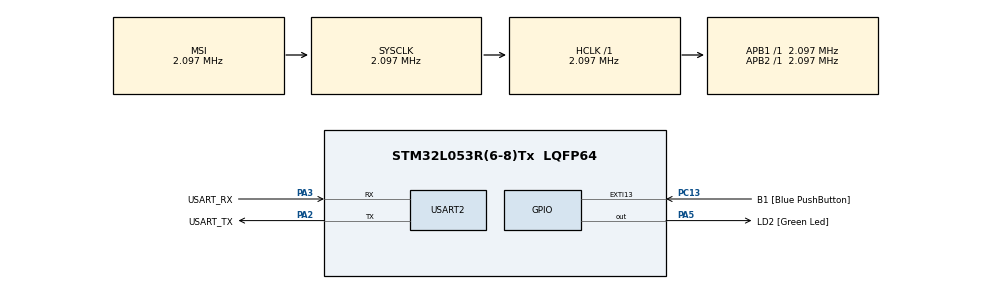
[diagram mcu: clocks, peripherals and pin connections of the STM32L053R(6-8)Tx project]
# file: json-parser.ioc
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Mcu.Family=STM32L0
Mcu.Name=STM32L053R(6-8)Tx
Mcu.Package=LQFP64
PA13.GPIO_Label=TMS
PA13.Mode=Serial_Wire
PA13.Signal=SYS_SWDIO
PA14.GPIO_Label=TCK
PA14.Mode=Serial_Wire
PA14.Signal=SYS_SWCLK
PA2.GPIO_Label=USART_TX
PA2.Mode=Asynchronous
PA2.Signal=USART2_TX
PA3.GPIO_Label=USART_RX
PA3.Mode=Asynchronous
PA3.Signal=USART2_RX
PA5.GPIO_Label=LD2 [Green Led]
PA5.Signal=GPIO_Output
PC13.GPIO_Label=B1 [Blue PushButton]
PC13.GPIO_ModeDefaultEXTI=GPIO_MODE_IT_FALLING
PC13.Signal=GPXTI13
PC14-OSC32_IN.Mode=LSE-External-Oscillator
PC14-OSC32_IN.Signal=RCC_OSC32_IN
PC15-OSC32_OUT.Mode=LSE-External-Oscillator
PC15-OSC32_OUT.Signal=RCC_OSC32_OUT
PH0-OSC_IN.Mode=HSE-External-Clock-Source
PH0-OSC_IN.Signal=RCC_OSC_IN
PH1-OSC_OUT.Signal=RCC_OSC_OUT
ProjectManager.HeapSize=0x200
ProjectManager.StackSize=0x400
ProjectManager.TargetToolchain=STM32CubeIDE
RCC.AHBFreq_Value=2097000
RCC.APB1Freq_Value=2097000
RCC.APB1TimFreq_Value=2097000
RCC.APB2Freq_Value=2097000
RCC.APB2TimFreq_Value=2097000
RCC.HSE_VALUE=8000000
RCC.HSI16_VALUE=16000000
RCC.HSI48_VALUE=48000000
RCC.HSI_VALUE=16000000
RCC.MSI_VALUE=2097000
RCC.SYSCLKFreq_VALUE=2097000
RCC.VCOOutputFreq_Value=48000000
USART2.VirtualMode-Asynchronous=VM_ASYNC
board=NUCLEO-L053R8

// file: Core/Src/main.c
/* USER CODE BEGIN Header */
/**
  ******************************************************************************
  * @file           : main.c
  * @brief          : Main program body
  ******************************************************************************
  * @attention
  *
  * <h2><center>&copy; Copyright (c) 2021 STMicroelectronics.
  * All rights reserved.</center></h2>
  *
  * This software component is licensed by ST under BSD 3-Clause license,
  * the "License"; You may not use this file except in compliance with the
  * License. You may obtain a copy of the License at:
  *                        opensource.org/licenses/BSD-3-Clause
  *
  ******************************************************************************
  */
/* USER CODE END Header */
#include "main.h"

/* USER CODE BEGIN Includes */
#include "json.h"
/* USER CODE END Includes */

UART_HandleTypeDef huart2;

/* USER CODE BEGIN PV */
int __io_putchar(int ch);
int _write(int file,char *ptr, int len);
static void print_depth_shift(int depth)
{
        int j;
        for (j=0; j < depth; j++) {
                printf(" ");
        }
}

static void process_value(json_value* value, int depth);

static void process_object(json_value* value, int depth)
{
        int length, x;
        if (value == NULL) {
                return;
        }
        length = value->u.object.length;
        for (x = 0; x < length; x++) {
                print_depth_shift(depth);
                printf("object[%d].name = %s\n\r", x, value->u.object.values[x].name);
                process_value(value->u.object.values[x].value, depth+1);
        }
}

static void process_array(json_value* value, int depth)
{
        int length, x;
        if (value == NULL) {
                return;
        }
        length = value->u.array.length;
        printf("array\n\r");
        for (x = 0; x < length; x++) {
                process_value(value->u.array.values[x], depth);
        }
}

static void process_value(json_value* value, int depth)
{
        int j;
        if (value == NULL) {
                return;
        }
        if (value->type != json_object) {
                print_depth_shift(depth);
        }
        switch (value->type) {
                case json_none:
                        printf("none\n");
                        break;
                case json_object:
                        process_object(value, depth+1);
                        break;
                case json_array:
                        process_array(value, depth+1);
                        break;
                case json_integer:
                        printf("int: %10" PRId64 "\n", value->u.integer);
                        break;
                case json_double:
                        printf("double: %f\n", value->u.dbl);
                        break;
                case json_string:
                        printf("string: %s\n", value->u.string.ptr);
                        break;
                case json_boolean:
                        printf("bool: %d\n", value->u.boolean);
                        break;
        }
}
/* USER CODE END PV */

void SystemClock_Config(void);
static void MX_GPIO_Init(void);
static void MX_USART2_UART_Init(void);

int main(void)
{

  /* MCU Configuration--------------------------------------------------------*/

  /* Reset of all peripherals, Initializes the Flash interface and the Systick. */
  HAL_Init();

  /* Configure the system clock */
  SystemClock_Config();

  /* Initialize all configured peripherals */
  MX_GPIO_Init();
  MX_USART2_UART_Init();
  /* USER CODE BEGIN 2 */
  char* file_contents = "[ true, false, \"\u20AC\u20AD\" ]";
  int file_size = strlen(file_contents);
  json_char* json;
  json_value* value;
  printf("%s\n", file_contents);

  printf("--------------------------------\n\n");

  json = (json_char*)file_contents;

  value = json_parse(json,file_size);

  process_value(value, 0);

  json_value_free(value);
  free(file_contents);
  /* USER CODE END 2 */

  /* Infinite loop */
  while (1)
  {
	  HAL_Delay(1000);
  }
}

void SystemClock_Config(void)
{
  RCC_OscInitTypeDef RCC_OscInitStruct = {0};
  RCC_ClkInitTypeDef RCC_ClkInitStruct = {0};
  RCC_PeriphCLKInitTypeDef PeriphClkInit = {0};

  /** Configure the main internal regulator output voltage
  */
  __HAL_PWR_VOLTAGESCALING_CONFIG(PWR_REGULATOR_VOLTAGE_SCALE1);
  /** Initializes the RCC Oscillators according to the specified parameters
  * in the RCC_OscInitTypeDef structure.
  */
  RCC_OscInitStruct.OscillatorType = RCC_OSCILLATORTYPE_MSI;
  RCC_OscInitStruct.MSIState = RCC_MSI_ON;
  RCC_OscInitStruct.MSICalibrationValue = 0;
  RCC_OscInitStruct.MSIClockRange = RCC_MSIRANGE_5;
  RCC_OscInitStruct.PLL.PLLState = RCC_PLL_NONE;
  if (HAL_RCC_OscConfig(&RCC_OscInitStruct) != HAL_OK)
  {
    Error_Handler();
  }
  /** Initializes the CPU, AHB and APB buses clocks
  */
  RCC_ClkInitStruct.ClockType = RCC_CLOCKTYPE_HCLK|RCC_CLOCKTYPE_SYSCLK
                              |RCC_CLOCKTYPE_PCLK1|RCC_CLOCKTYPE_PCLK2;
  RCC_ClkInitStruct.SYSCLKSource = RCC_SYSCLKSOURCE_MSI;
  RCC_ClkInitStruct.AHBCLKDivider = RCC_SYSCLK_DIV1;
  RCC_ClkInitStruct.APB1CLKDivider = RCC_HCLK_DIV1;
  RCC_ClkInitStruct.APB2CLKDivider = RCC_HCLK_DIV1;

  if (HAL_RCC_ClockConfig(&RCC_ClkInitStruct, FLASH_LATENCY_0) != HAL_OK)
  {
    Error_Handler();
  }
  PeriphClkInit.PeriphClockSelection = RCC_PERIPHCLK_USART2;
  PeriphClkInit.Usart2ClockSelection = RCC_USART2CLKSOURCE_PCLK1;
  if (HAL_RCCEx_PeriphCLKConfig(&PeriphClkInit) != HAL_OK)
  {
    Error_Handler();
  }
}

static void MX_USART2_UART_Init(void)
{

  huart2.Instance = USART2;
  huart2.Init.BaudRate = 115200;
  huart2.Init.WordLength = UART_WORDLENGTH_8B;
  huart2.Init.StopBits = UART_STOPBITS_1;
  huart2.Init.Parity = UART_PARITY_NONE;
  huart2.Init.Mode = UART_MODE_TX_RX;
  huart2.Init.HwFlowCtl = UART_HWCONTROL_NONE;
  huart2.Init.OverSampling = UART_OVERSAMPLING_16;
  huart2.Init.OneBitSampling = UART_ONE_BIT_SAMPLE_DISABLE;
  huart2.AdvancedInit.AdvFeatureInit = UART_ADVFEATURE_NO_INIT;
  if (HAL_UART_Init(&huart2) != HAL_OK)
  {
    Error_Handler();
  }

}

static void MX_GPIO_Init(void)
{
  GPIO_InitTypeDef GPIO_InitStruct = {0};

  /* GPIO Ports Clock Enable */
  __HAL_RCC_GPIOC_CLK_ENABLE();
  __HAL_RCC_GPIOH_CLK_ENABLE();
  __HAL_RCC_GPIOA_CLK_ENABLE();

  /*Configure GPIO pin Output Level */
  HAL_GPIO_WritePin(LD2_GPIO_Port, LD2_Pin, GPIO_PIN_RESET);

  /*Configure GPIO pin : B1_Pin */
  GPIO_InitStruct.Pin = B1_Pin;
  GPIO_InitStruct.Mode = GPIO_MODE_IT_FALLING;
  GPIO_InitStruct.Pull = GPIO_NOPULL;
  HAL_GPIO_Init(B1_GPIO_Port, &GPIO_InitStruct);

  /*Configure GPIO pin : LD2_Pin */
  GPIO_InitStruct.Pin = LD2_Pin;
  GPIO_InitStruct.Mode = GPIO_MODE_OUTPUT_PP;
  GPIO_InitStruct.Pull = GPIO_NOPULL;
  GPIO_InitStruct.Speed = GPIO_SPEED_FREQ_LOW;
  HAL_GPIO_Init(LD2_GPIO_Port, &GPIO_InitStruct);

}

/* USER CODE BEGIN 4 */
int __io_putchar(int ch)
{
	uint8_t c[1];
	c[0] = ch & 0x00FF;
	HAL_UART_Transmit(&huart2, c, 1, 10);
	return ch;
}

int _write(int file,char *ptr, int len)
{
	int DataIdx;
	for(DataIdx= 0; DataIdx< len; DataIdx++)
	{
		__io_putchar(*ptr++);
	}
}
/* USER CODE END 4 */

void Error_Handler(void)
{
}

/************************ (C) COPYRIGHT STMicroelectronics *****END OF FILE****/
